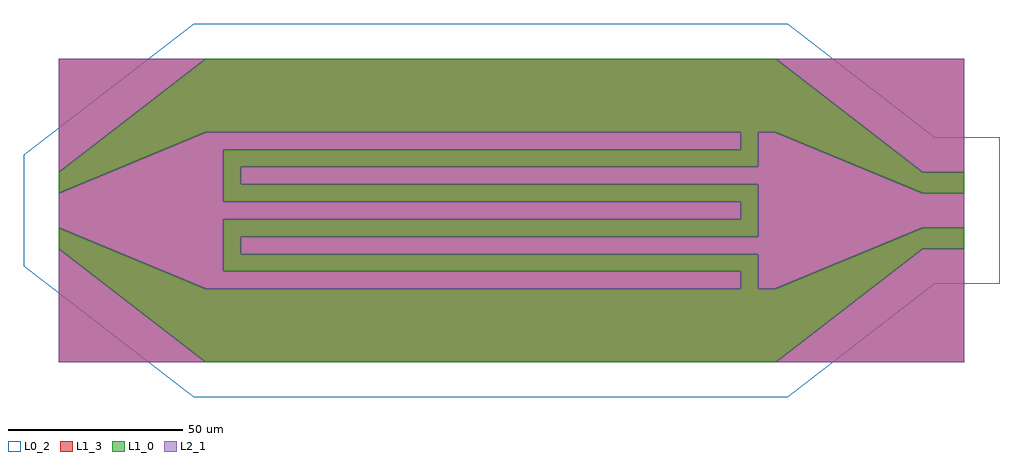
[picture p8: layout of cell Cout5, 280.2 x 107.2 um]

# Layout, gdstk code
import gdstk
lib = gdstk.Library(unit=1e-6, precision=1e-09)
def R(c, l, rs):  # rectangles x0, y0, x1, y1
    for r in rs: c.add(gdstk.rectangle(r[:2], r[2:], *l))
def P(c, l, *ps):  # polygons
    for p in ps: c.add(gdstk.Polygon(p, *l))
L0_2 = (0, 2)
L1_0 = (1, 0)
L1_3 = (1, 3)
L2_1 = (2, 1)

cout5 = lib.new_cell('Cout5')
P(cout5, L0_2, [(-91.198,-53.6),(-140.1,-15.972),(-140.1,15.972),(-91.198,53.6),(79.264,53.6),(121.502,21.1),(140.1,21.1),(140.1,-21.1),(121.502,-21.1),(79.264,-53.6)])
P(cout5, L1_0, [(-87.762,-43.5),(-130,-11),(-130,-5),(-87.717,-22.5),(65.783,-22.5),(65.783,-17.5),(-82.717,-17.5),(-82.717,-2.5),(65.783,-2.5),(65.783,2.5),(-82.717,2.5),(-82.717,17.5),(65.783,17.5),(65.783,22.5),(-87.717,22.5),(-130,5),(-130,11),(-87.762,43.5),(75.828,43.5),(118.066,11),(130,11),(130,5),(118.066,5),(75.783,22.5),(70.783,22.5),(70.783,12.5),(-77.717,12.5),(-77.717,7.5),(70.783,7.5),(70.783,-7.5),(-77.717,-7.5),(-77.717,-12.5),(70.783,-12.5),(70.783,-22.5),(75.783,-22.5),(118.066,-5),(130,-5),(130,-11),(118.066,-11),(75.828,-43.5)])
R(cout5, L1_3, [(-130,-43.5,130,43.5)])
P(cout5, L2_1, [(-130,11),(-130,43.5),(-87.762,43.5)],
  [(-130,-43.5),(-130,-11),(-87.762,-43.5)],
  [(-87.717,-22.5),(-130,-5),(-130,5),(-87.717,22.5),(65.783,22.5),(65.783,17.5),(-82.717,17.5),(-82.717,2.5),(65.783,2.5),(65.783,-2.5),(-82.717,-2.5),(-82.717,-17.5),(65.783,-17.5),(65.783,-22.5)],
  [(70.783,-22.5),(70.783,-12.5),(-77.717,-12.5),(-77.717,-7.5),(70.783,-7.5),(70.783,7.5),(-77.717,7.5),(-77.717,12.5),(70.783,12.5),(70.783,22.5),(75.783,22.5),(118.066,5),(130,5),(130,-5),(118.066,-5),(75.783,-22.5)],
  [(75.828,-43.5),(118.066,-11),(130,-11),(130,-43.5)],
  [(118.066,11),(75.828,43.5),(130,43.5),(130,11)])

lib.write_gds('Cout5.gds')
